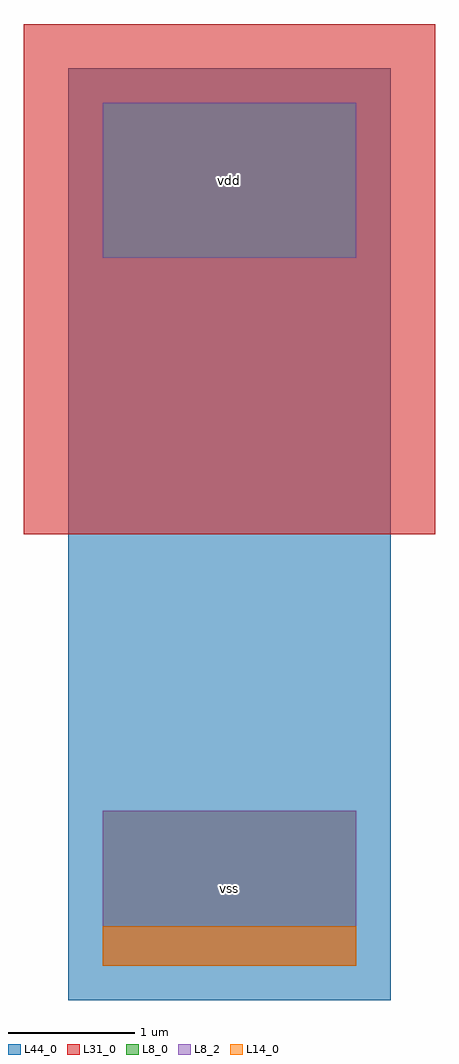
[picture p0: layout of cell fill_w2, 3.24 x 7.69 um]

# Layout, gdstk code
import gdstk
lib = gdstk.Library(unit=1e-6, precision=1e-09)
def R(c, l, rs):  # rectangles x0, y0, x1, y1
    for r in rs: c.add(gdstk.rectangle(r[:2], r[2:], *l))
L8_0 = (8, 0)
L8_2 = (8, 2)
L14_0 = (14, 0)
L31_0 = (31, 0)
L44_0 = (44, 0)

fill_w2 = lib.new_cell('fill_w2')
R(fill_w2, L8_0, [(0,0,2,1.22), (0,5.58,2,6.8)])
R(fill_w2, L8_2, [(0,0,2,1.22), (0,5.58,2,6.8)])
R(fill_w2, L14_0, [(0,0,2,0.31)])
R(fill_w2, L31_0, [(-0.62,3.4,2.62,7.42)])
R(fill_w2, L44_0, [(-0.27,-0.27,2.27,7.07)])
fill_w2.add(gdstk.Label('vdd', (1,6.19), layer=8, texttype=2))
fill_w2.add(gdstk.Label('vss', (1,0.61), layer=8, texttype=2))

lib.write_gds('fill_w2.gds')
